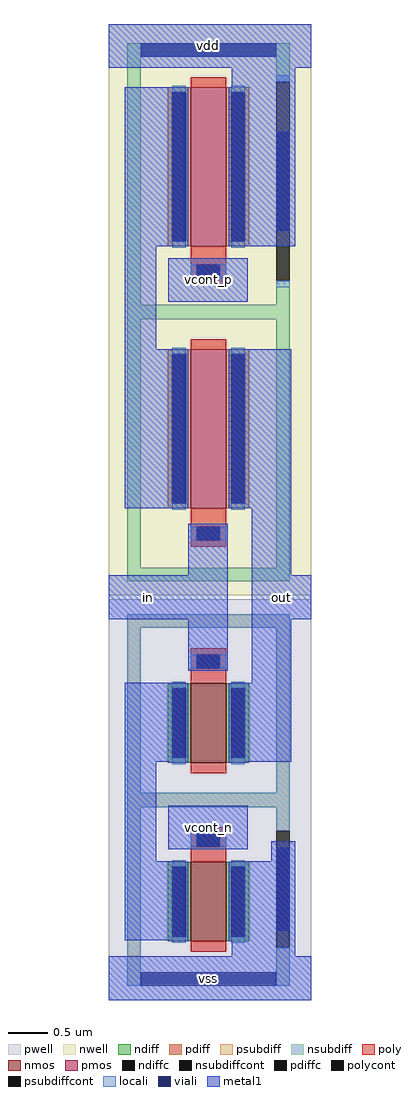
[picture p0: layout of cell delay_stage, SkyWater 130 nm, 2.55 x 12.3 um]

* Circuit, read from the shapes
.subckt delay_stage vdd vcont_p out in vcont_n vss
XM1 vss vcont_n n1 vss sky130_fd_pr__nfet_01v8 w=1 l=0.45
XM2 out in n1 vss sky130_fd_pr__nfet_01v8 w=1 l=0.45
XM3 out in n2 vdd sky130_fd_pr__pfet_01v8 w=2 l=0.45
XM4 vdd vcont_p n2 vdd sky130_fd_pr__pfet_01v8 w=2 l=0.45
.ends

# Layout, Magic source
magic
tech sky130A
magscale 1 2
<< nwell >>
rect 1110 -1650 1620 -210
<< pwell >>
rect 1110 -2670 1620 -1660
<< metal1 >>
rect 1110 -320 1620 -210
rect 1150 -770 1300 -370
rect 1420 -770 1580 -320
rect 1150 -1030 1230 -770
rect 1260 -910 1460 -800
rect 1150 -1430 1300 -1030
rect 1420 -1430 1570 -1030
rect 1310 -1600 1410 -1470
rect 1110 -1710 1410 -1600
rect 1310 -1840 1410 -1710
rect 1470 -1600 1570 -1430
rect 1470 -1710 1620 -1600
rect 1470 -1870 1570 -1710
rect 1150 -2070 1300 -1870
rect 1420 -2070 1570 -1870
rect 1150 -2320 1230 -2070
rect 1260 -2290 1460 -2180
rect 1520 -2320 1580 -2270
rect 1150 -2520 1300 -2320
rect 1420 -2560 1580 -2320
rect 1110 -2670 1620 -2560
use sky130_fd_pr__nfet_01v8_46DABQ  sky130_fd_pr__nfet_01v8_46DABQ_0
transform 1 0 1361 0 1 -1941
box -241 -279 241 279
use sky130_fd_pr__nfet_01v8_TTGNW2  sky130_fd_pr__nfet_01v8_TTGNW2_0
transform 1 0 1361 0 1 -2391
box -241 -279 241 279
use sky130_fd_pr__pfet_01v8_5YCKZA  sky130_fd_pr__pfet_01v8_5YCKZA_0
transform 1 0 1361 0 1 -1266
box -241 -384 241 384
use sky130_fd_pr__pfet_01v8_38U2ME  sky130_fd_pr__pfet_01v8_38U2ME_0
transform 1 0 1361 0 1 -606
box -241 -384 241 384
<< labels >>
flabel metal1 1260 -2290 1460 -2180 0 FreeSans 256 0 0 0 vcont_n
port 4 nsew
flabel metal1 1260 -910 1460 -800 0 FreeSans 256 0 0 0 vcont_p
port 1 nsew
flabel metal1 1260 -2670 1460 -2560 0 FreeSans 256 0 0 0 vss
port 5 nsew
flabel metal1 1260 -320 1460 -210 0 FreeSans 256 0 0 0 vdd
port 0 nsew
flabel metal1 1110 -1710 1310 -1600 0 FreeSans 256 0 0 0 in
port 3 nsew
flabel metal1 1470 -1710 1620 -1600 0 FreeSans 256 0 0 0 out
port 2 nsew
<< end >>

# cell sky130_fd_pr__nfet_01v8_46DABQ: kit device sky130_fd_pr__nfet_01v8, w 1.0 l 0.45 m 1 nf 1 diffcov 100 polycov 100 guard 1 glc 0 grc 0 gtc 0 gbc 0 tbcov 100 rlcov 100 topc 1 botc 0 poverlap 0 doverlap 1 lmin 0.15 wmin 0.42 compatible {sky130_fd_pr__nfet_01v8 sky130_fd_pr__nfet_01v8_lvt sky130_fd_bs_flash__special_sonosfet_star sky130_fd_pr__nfet_g5v0d10v5 sky130_fd_pr__nfet_05v0_nvt sky130_fd_pr__nfet_03v3_nvt} full_metal 1 viasrc 100 viadrn 100 viagate 100 viagb 0 viagr 0 viagl 0 viagt 0

# cell sky130_fd_pr__nfet_01v8_TTGNW2: kit device sky130_fd_pr__nfet_01v8, w 1.0 l 0.45 m 1 nf 1 diffcov 100 polycov 100 guard 1 glc 0 grc 1 gtc 0 gbc 0 tbcov 100 rlcov 100 topc 1 botc 0 poverlap 0 doverlap 1 lmin 0.15 wmin 0.42 compatible {sky130_fd_pr__nfet_01v8 sky130_fd_pr__nfet_01v8_lvt sky130_fd_bs_flash__special_sonosfet_star sky130_fd_pr__nfet_g5v0d10v5 sky130_fd_pr__nfet_05v0_nvt sky130_fd_pr__nfet_03v3_nvt} full_metal 1 viasrc 100 viadrn 100 viagate 100 viagb 100 viagr 50 viagl 0 viagt 0

# cell sky130_fd_pr__pfet_01v8_5YCKZA: kit device sky130_fd_pr__pfet_01v8, w 2 l 0.45 m 1 nf 1 diffcov 100 polycov 100 guard 1 glc 0 grc 0 gtc 0 gbc 0 tbcov 100 rlcov 100 topc 0 botc 1 poverlap 0 doverlap 1 lmin 0.15 wmin 0.42 compatible {sky130_fd_pr__pfet_01v8 sky130_fd_pr__pfet_01v8_lvt sky130_fd_pr__pfet_01v8_hvt sky130_fd_pr__pfet_g5v0d10v5} full_metal 0 viasrc 100 viadrn 100 viagate 100 viagb 0 viagr 0 viagl 0 viagt 0

# cell sky130_fd_pr__pfet_01v8_38U2ME: kit device sky130_fd_pr__pfet_01v8, w 2 l 0.45 m 1 nf 1 diffcov 100 polycov 100 guard 1 glc 0 grc 1 gtc 0 gbc 0 tbcov 100 rlcov 100 topc 0 botc 1 poverlap 0 doverlap 1 lmin 0.15 wmin 0.42 compatible {sky130_fd_pr__pfet_01v8 sky130_fd_pr__pfet_01v8_lvt sky130_fd_pr__pfet_01v8_hvt sky130_fd_pr__pfet_g5v0d10v5} full_metal 0 viasrc 100 viadrn 100 viagate 100 viagb 0 viagr 40 viagl 0 viagt 100
